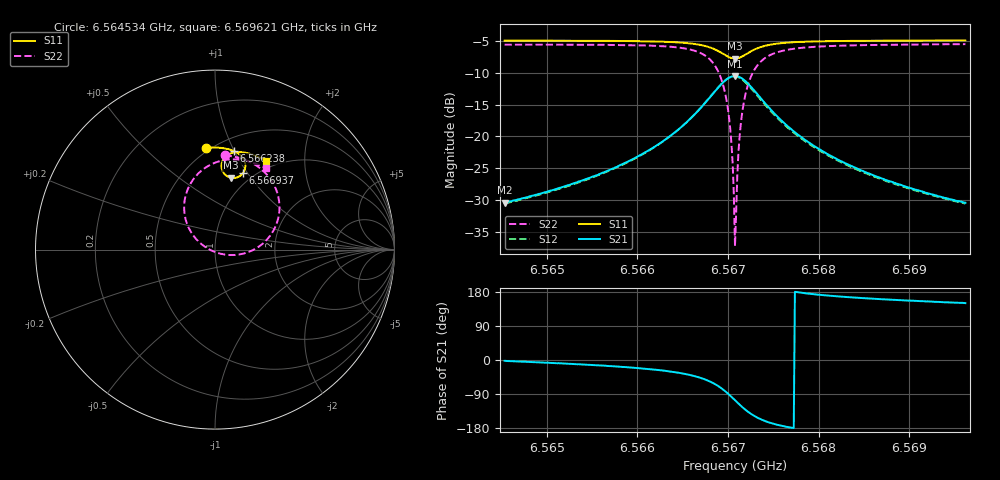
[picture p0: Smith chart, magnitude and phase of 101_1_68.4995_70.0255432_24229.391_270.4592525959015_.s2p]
#  HZ  S  RI  R  50.00
! Rohde & Schwarz Vector Network Analyzer
! Rohde-Schwarz,ZNB20-2Port,1311601062101988,3.16
! Created: UTC 3/20/2024, 4:53:03 PM
! freq[Hz]  re:S11  im:S11  re:S21  im:S21  re:S12  im:S12  re:S22  im:S22
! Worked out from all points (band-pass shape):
!   401 points, 6.564534 GHz to 6.569621 GHz, reference 50 ohm
!   highest |S21| = -10.47 dB at 6.567077 GHz (marker M1); lowest = -30.5 dB at 6.564534 GHz (marker M2)
!   |S21| within 3 dB of the highest: 6.566822 GHz to 6.567331 GHz (509.2 kHz wide, 0.00775 % of centre)
!   lowest |S11| = -7.7 dB at 6.567077 GHz (marker M3), VSWR 2.39, Z = 41.9 + j40.3 ohm
!   |S11| at or under -10 dB: nowhere
!   |S22| runs from -37.3 to -5.4 dB; largest |S21 - S12| = 0.015
!   S11 on the Smith chart (normalised r, x): 6.564534 GHz: 0.48, +0.80; 6.566238 GHz: 0.62, +1.00; 6.566937 GHz: 0.89, +0.95; 6.569621 GHz: 0.89, +1.31
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6.5645339e9  -0.0483 0.5673  0.03 -0.00108  0.0295 -0.0018  0.0542 0.526
6.5653859e9  0.0222 0.5676  0.0439 -0.00904  0.0431 -0.00959  0.138 0.5101
6.5662379e9  0.1051 0.5495  0.078 -0.0391  0.0769 -0.0402  0.2591 0.4468
6.5665304e9  0.1404 0.5276  0.1015 -0.0764  0.0997 -0.0779  0.3217 0.3733
6.5667338e9  0.1645 0.4929  0.1146 -0.1374  0.1119 -0.1404  0.3586 0.2553
6.5668483e9  0.1685 0.4583  0.103 -0.1983  0.0976 -0.2022  0.3411 0.1392
6.5669373e9  0.1546 0.4248  0.0618 -0.2557  0.0524 -0.259  0.2649 0.0324
6.5669755e9  0.1413 0.4117  0.0305 -0.277  0.0192 -0.2786  0.2066 -0.00497
6.5670136e9  0.1234 0.4024  -0.0089 -0.2908  -0.0217 -0.2899  0.1339 -0.0274
6.567039e9  0.1095 0.3994  -0.0382 -0.2939  -0.0518 -0.2909  0.0805 -0.0302
6.5670645e9  0.0948 0.3994  -0.0685 -0.2914  -0.082 -0.2859  0.0266 -0.022
6.5670772e9  0.0876 0.4006  -0.0836 -0.2878  -0.0967 -0.2811  0.000422 -0.0136
6.5670899e9  0.0806 0.4027  -0.0981 -0.2827  -0.1108 -0.2749  -0.0249 -0.00274
6.5671026e9  0.0738 0.4056  -0.1119 -0.2763  -0.1241 -0.2674  -0.0486 0.0105
6.5671281e9  0.0616 0.4132  -0.1374 -0.2597  -0.1475 -0.2492  -0.0902 0.0434
6.5671662e9  0.0474 0.4283  -0.1665 -0.2286  -0.1738 -0.2162  -0.1365 0.1025
6.5672171e9  0.0377 0.4515  -0.1888 -0.1826  -0.1919 -0.17  -0.1675 0.1862
6.5672807e9  0.0373 0.4785  -0.1947 -0.1301  -0.1942 -0.1192  -0.1685 0.2782
6.5675095e9  0.0749 0.5299  -0.1494 -0.0294  -0.1459 -0.0247  -0.066 0.4473
6.5679292e9  0.1379 0.5435  -0.0855 0.00887  -0.0834 0.0103  0.0754 0.5018
6.5687812e9  0.2201 0.5251  -0.0416 0.0156  -0.0405 0.0159  0.2071 0.4859
6.5696205e9  0.2836 0.4958  -0.026 0.015  -0.0253 0.015  0.2844 0.4522
